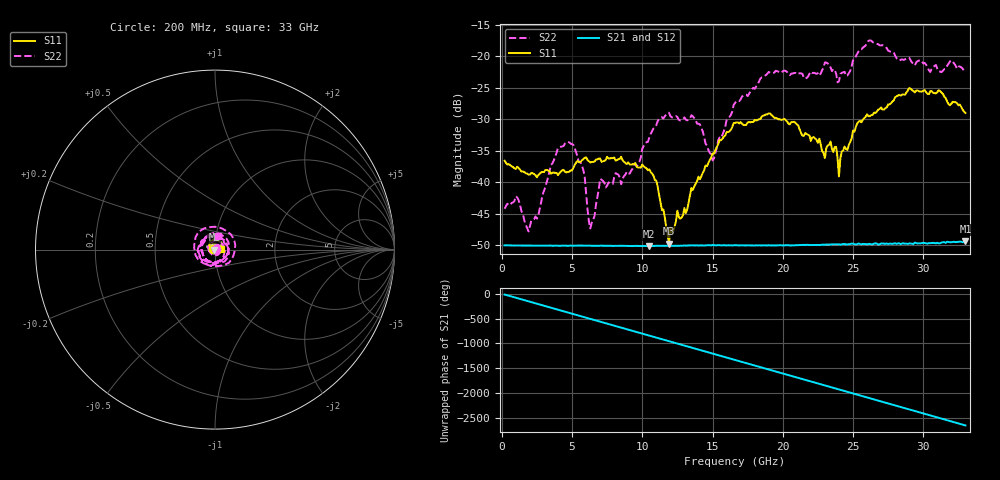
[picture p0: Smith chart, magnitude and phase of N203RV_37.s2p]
# GHZ S RI R 50
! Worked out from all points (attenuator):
!   329 points, 200 MHz to 33 GHz, reference 50 ohm
!   highest |S21| = -49.34 dB at 33 GHz (marker M1); lowest = -50.1 dB at 10.5 GHz (marker M2)
!   lowest |S11| = -49.7 dB at 11.9 GHz (marker M3), VSWR 1.01, Z = 49.7 + j0.0137 ohm
!   |S11| at or under -10 dB: start of sweep to end of sweep
!   |S22| runs from -47.8 to -17.5 dB; largest |S21 - S12| = 7.2e-05
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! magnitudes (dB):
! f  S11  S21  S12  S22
! 200 MHz  -36.6  -50.0  -50.0  -44.2
! 1 GHz  -37.9  -50.0  -50.0  -42.2
! 1.9 GHz  -38.8  -50.0  -50.0  -47.8
! 4 GHz  -38.8  -50.0  -50.0  -34.5
! 5.7 GHz  -36.5  -50.0  -50.0  -37.3
! 6.3 GHz  -36.9  -50.0  -50.0  -47.3
! 7 GHz  -36.2  -50.0  -50.0  -39.4
! 8.5 GHz  -36.0  -50.1  -50.0  -40.3
! 10.5 GHz  -37.9  -50.1  -50.1  -32.9
! 11.2 GHz  -42.0  -50.1  -50.0  -30.0
! 11.9 GHz  -49.7  -50.0  -50.0  -29.0
! 13.6 GHz  -41.2  -50.0  -50.0  -29.6
! 15 GHz  -35.4  -49.9  -49.9  -36.5
! 16.6 GHz  -30.6  -50.0  -50.0  -27.4
! 19 GHz  -29.1  -50.0  -50.0  -22.5
! 22.1 GHz  -32.9  -49.9  -49.9  -22.7
! 23.8 GHz  -34.4  -49.8  -49.8  -22.8
! 24 GHz  -39.1  -49.8  -49.8  -24.0
! 25.3 GHz  -30.7  -49.8  -49.8  -19.6
! 27.6 GHz  -27.6  -49.7  -49.7  -19.2
! 31.1 GHz  -25.4  -49.7  -49.5  -22.4
! 33 GHz  -29.0  -49.3  -49.3  -22.5
